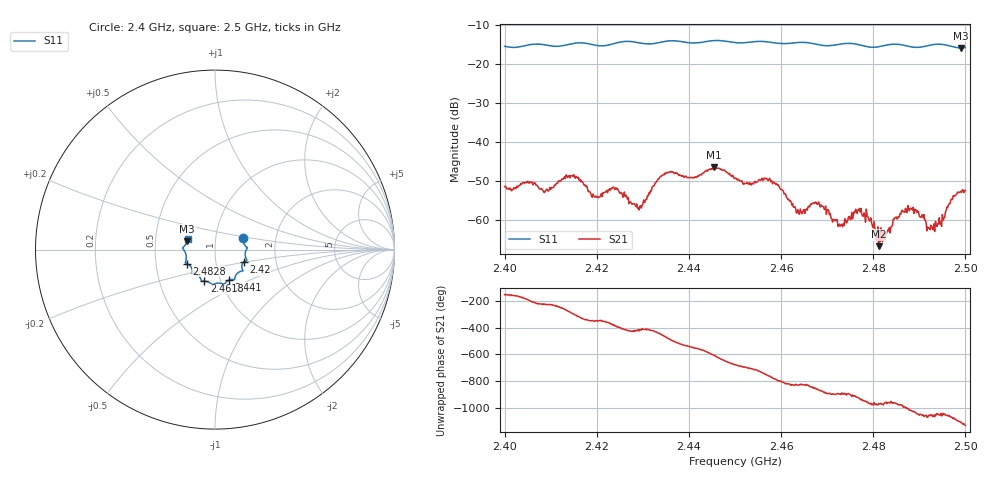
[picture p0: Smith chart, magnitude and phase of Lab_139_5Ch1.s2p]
# Hz S RI R 50
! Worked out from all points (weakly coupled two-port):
!   601 points, 2.4 GHz to 2.5 GHz, reference 50 ohm
!   highest |S21| = -46.37 dB at 2.4455 GHz (marker M1); lowest = -66.7 dB at 2.4812 GHz (marker M2)
!   lowest |S11| = -15.8 dB at 2.499 GHz (marker M3), VSWR 1.39, Z = 36.5 + j3.48 ohm
!   |S11| at or under -10 dB: start of sweep to end of sweep
!   S12 and S22 are empty: the file has one direction only
!   S11 on the Smith chart (normalised r, x): 2.4 GHz: 1.36, +0.18; 2.42 GHz: 1.36, -0.20; 2.441 GHz: 1.10, -0.39; 2.4618 GHz: 0.84, -0.30; 2.4828 GHz: 0.72, -0.12; 2.5 GHz: 0.73, +0.09
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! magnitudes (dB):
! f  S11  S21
! 2.4 GHz  -15.4  -51.4
! 2.4167 GHz  -14.5  -49.9
! 2.42 GHz  -15.2  -54.1
! 2.424 GHz  -14.6  -52.1
! 2.4293 GHz  -14.5  -56.4
! 2.4333 GHz  -14.5  -49.4
! 2.441 GHz  -14.6  -49.2
! 2.4455 GHz  -13.9  -46.4
! 2.45 GHz  -14.5  -49.3
! 2.4572 GHz  -14.3  -49.9
! 2.4618 GHz  -14.6  -55.1
! 2.4642 GHz  -14.4  -57.1
! 2.4667 GHz  -14.6  -55.9
! 2.4728 GHz  -14.9  -61.5
! 2.4768 GHz  -15.0  -57.4
! 2.4812 GHz  -15.5  -66.7
! 2.4828 GHz  -15.1  -63.2
! 2.4833 GHz  -15.0  -62.8
! 2.488 GHz  -15.5  -57.0
! 2.4928 GHz  -15.0  -62.1
! 2.499 GHz  -15.8  -52.6
! 2.5 GHz  -15.7  -52.4
